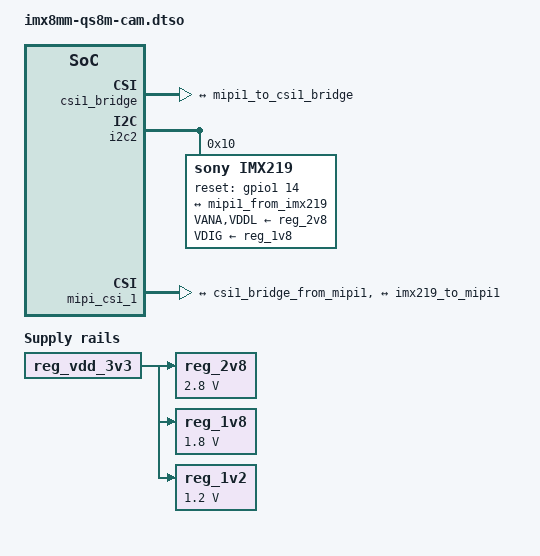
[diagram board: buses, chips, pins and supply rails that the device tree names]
// SPDX-License-Identifier: (GPL-2.0 OR MIT)
/*
 * Copyright 2022 Lothar Waßmann <LW@KARO-electronics.de>
 *
 */

/dts-v1/;

/plugin/;

#include <dt-bindings/gpio/gpio.h>
#include "imx8mm-pinfunc.h"

&{/} {
	reg_2v8: regulator-2v8 {
		compatible = "regulator-fixed";
		regulator-name = "2V8";
		regulator-min-microvolt = <2800000>;
		regulator-max-microvolt = <2800000>;
		regulator-always-on;
		vin-supply = <&reg_vdd_3v3>;
	};

	reg_1v8: regulator-1v8 {
		compatible = "regulator-fixed";
		regulator-name = "1V8";
		regulator-min-microvolt = <1800000>;
		regulator-max-microvolt = <1800000>;
		regulator-always-on;
		vin-supply = <&reg_vdd_3v3>;
	};

	reg_1v2: regulator-1v2 {
		compatible = "regulator-fixed";
		regulator-name = "1V2";
		regulator-min-microvolt = <1200000>;
		regulator-max-microvolt = <1200000>;
		regulator-always-on;
		vin-supply = <&reg_vdd_3v3>;
	};

	imx219_clk: imx219-clk {
		compatible = "fixed-clock";
		#clock-cells = <0>;
		clock-frequency = <24000000>;
	};
};

&{/chosen} {
	overlays {
		qs8m-cam;
	};
};

&csi1_bridge {
	fsl,mipi-mode;
	status = "okay";

	port {
		csi1_bridge_from_mipi1: endpoint {
			remote-endpoint = <&mipi1_to_csi1_bridge>;
		};
	};
};

&i2c2 {
	#address-cells = <1>;
	#size-cells = <0>;

	imx219: sensor@10 {
		compatible = "sony,imx219";
		reg = <0x10>;
		pinctrl-names = "default";
		pinctrl-0 = <&pinctrl_imx219_reset>;
		reset-gpios = <&gpio1 14 GPIO_ACTIVE_HIGH>;
		clocks = <&imx219_clk>;
		VANA-supply = <&reg_2v8>;   /* 2.8v */
		VDIG-supply = <&reg_1v8>;   /* 1.8v */
		VDDL-supply = <&reg_2v8>;   /* 1.2v */
		status = "okay";

		port {
			imx219_to_mipi1: endpoint {
				remote-endpoint = <&mipi1_from_imx219>;
				data-lanes = <1 2>;
				clock-noncontinuous;
				link-frequencies = /bits/ 64 <456000000>;
			};
		};
	};
};

&mipi_csi_1 {
	status = "okay";

	port {
		#address-cells = <1>;
		#size-cells = <0>;
		/*
		 * The ordering of the endpoint entries matters!
		 * It will be reversed when the overlay is applied.
		 */
		mipi1_to_csi1_bridge: endpoint@2 {
			reg = <2>;
			remote-endpoint = <&csi1_bridge_from_mipi1>;
		};

		mipi1_from_imx219: endpoint@1 {
			reg = <1>;
			remote-endpoint = <&imx219_to_mipi1>;
			data-lanes = <2>;
			csis-hs-settle = <13>;
			csis-clk-settle = <2>;
			csis-wclk;
		};
	};
};

&iomuxc {
	pinctrl_imx219_reset: imx219-resetgrp {
		fsl,pins = <
			MX8MM_IOMUXC_GPIO1_IO14_GPIO1_IO14		0x06
		>;
	};
};
